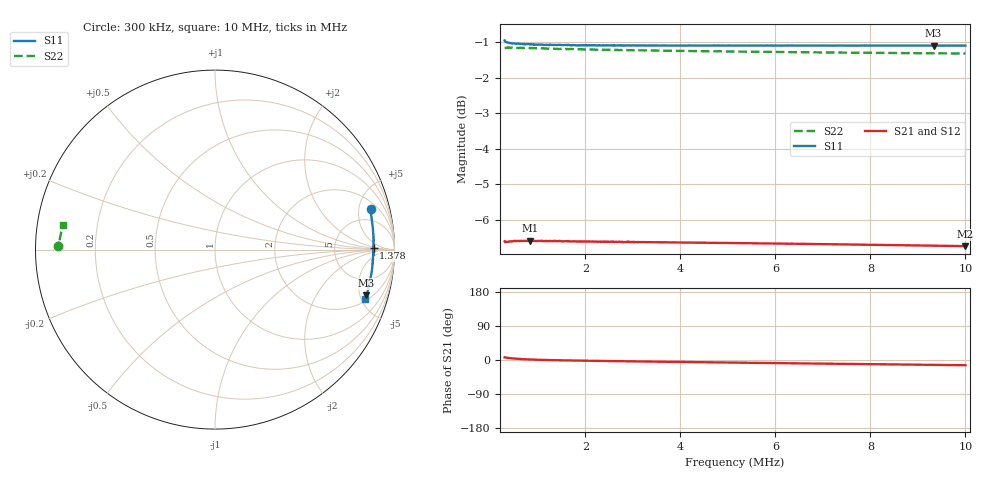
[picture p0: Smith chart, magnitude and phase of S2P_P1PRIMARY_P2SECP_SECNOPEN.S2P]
!Keysight Technologies,E5061B,MY49709559,B.05.06
!Date: Thu Apr 07 18:59:30 2022
!Data & Calibration Information:
!Freq	S11:SOLT2(ON)	S21:SOLT2(ON)	S12:SOLT2(ON)	S22:SOLT2(ON)
# Hz S RI R 50
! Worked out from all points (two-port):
!   1000 points, 300 kHz to 10 MHz, reference 50 ohm
!   highest |S21| = -6.58 dB at 834 kHz (marker M1); lowest = -6.7 dB at 10 MHz (marker M2)
!   |S21| within 3 dB of the highest: start of sweep to end of sweep
!   lowest |S11| = -1.1 dB at 9.33 MHz (marker M3), VSWR 15.81, Z = 125 - j285 ohm
!   |S11| at or under -10 dB: nowhere
!   |S22| runs from -1.3 to -1.1 dB; largest |S21 - S12| = 0.01
!   S11 on the Smith chart (normalised r, x): 300 kHz: 2.85, +6.56; 1.378 MHz: 16, +1; 10 MHz: 2.21, -5.41
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300000  0.867 0.2269  0.4638 0.0584  0.455 0.0528  -0.8736 0.0194
329129.1  0.8677 0.204  0.4636 0.0519  0.4592 0.048  -0.8752 0.0183
377677.7  0.8729 0.1731  0.4646 0.0435  0.4621 0.041  -0.8754 0.0186
416516.5  0.8749 0.1545  0.4656 0.0384  0.463 0.0363  -0.8753 0.018
465065.1  0.8769 0.1357  0.4662 0.0335  0.4643 0.0313  -0.8751 0.0183
523323.3  0.8795 0.1172  0.4669 0.0283  0.4648 0.0264  -0.8753 0.0182
581581.6  0.8815 0.1017  0.4675 0.0235  0.4651 0.0229  -0.8746 0.0182
639839.8  0.8819 0.0892  0.4675 0.0204  0.4656 0.0191  -0.8748 0.0191
746646.6  0.8833 0.0697  0.4678 0.0143  0.4658 0.0143  -0.8742 0.0193
834034  0.8836 0.0575  0.4684 0.0108  0.466 0.0107  -0.8737 0.0206
931131.1  0.8828 0.0458  0.4678 0.0071  0.4661 0.00753  -0.8738 0.0217
1076777  0.8834 0.0318  0.4679 0.00317  0.4658 0.00294  -0.8732 0.0241
1377778  0.8832 0.00892  0.468 -0.00422  0.4655 -0.00387  -0.8717 0.0278
1639940  0.8835 -0.00665  0.4678 -0.00938  0.4654 -0.00933  -0.8707 0.0314
1921522  0.8825 -0.0205  0.467 -0.0138  0.4652 -0.0141  -0.8702 0.0358
2581782  0.8807 -0.0485  0.4664 -0.0238  0.4638 -0.0236  -0.868 0.0446
3543043  0.8777 -0.0822  0.4645 -0.0362  0.4625 -0.036  -0.8653 0.0569
5154855  0.8714 -0.1334  0.4615 -0.056  0.4591 -0.055  -0.8609 0.0779
6766667  0.8625 -0.1814  0.4574 -0.0744  0.4553 -0.0732  -0.8568 0.0987
8388188  0.8514 -0.2281  0.4525 -0.0925  0.4505 -0.0908  -0.8522 0.1193
9330030  0.8435 -0.2544  0.4493 -0.1028  0.4473 -0.1007  -0.8497 0.131
1e7  0.8378 -0.2732  0.4469 -0.1099  0.4449 -0.1079  -0.8477 0.1396
